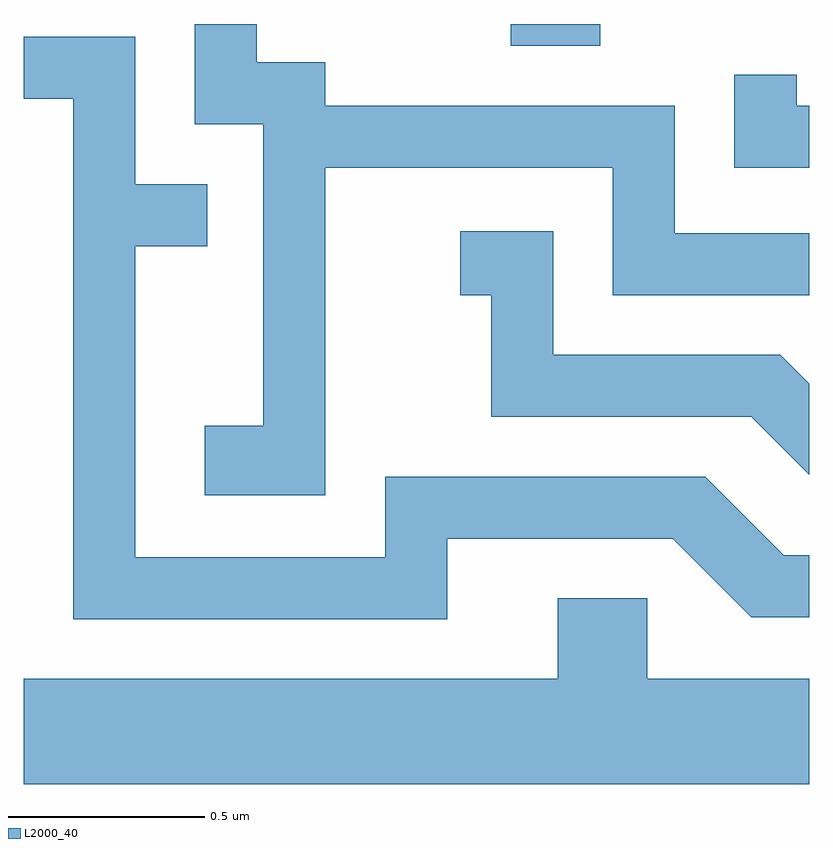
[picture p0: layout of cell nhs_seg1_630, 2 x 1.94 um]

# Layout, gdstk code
import gdstk
lib = gdstk.Library(unit=1e-6, precision=1e-09)
def R(c, l, rs):  # rectangles x0, y0, x1, y1
    for r in rs: c.add(gdstk.rectangle(r[:2], r[2:], *l))
def P(c, l, *ps):  # polygons
    for p in ps: c.add(gdstk.Polygon(p, *l))
L2000_40 = (2000, 40)

nhs_seg1_630 = lib.new_cell('nhs_seg1_630')
R(nhs_seg1_630, L2000_40, [(190.851,923.656,191.079,923.712)])
P(nhs_seg1_630, L2000_40, [(190.379,923.346),(191.111,923.346),(191.111,923.021),(191.611,923.021),(191.611,923.179),(191.269,923.179),(191.269,923.504),(190.379,923.504),(190.379,923.614),(190.204,923.614),(190.204,923.712),(190.046,923.712),(190.046,923.456),(190.221,923.456),(190.221,922.689),(190.071,922.689),(190.071,922.511),(190.379,922.511)],
  [(190.689,922.401),(191.264,922.401),(191.464,922.201),(191.611,922.201),(191.611,922.359),(191.547,922.359),(191.347,922.559),(190.531,922.559),(190.531,922.354),(189.894,922.354),(189.894,923.146),(190.078,923.146),(190.078,923.304),(189.894,923.304),(189.894,923.679),(189.611,923.679),(189.611,923.521),(189.736,923.521),(189.736,922.196),(190.689,922.196)],
  [(191.611,923.504),(191.579,923.504),(191.579,923.583),(191.421,923.583),(191.421,923.346),(191.611,923.346)],
  [(191.611,922.795),(191.537,922.869),(190.959,922.869),(190.959,923.184),(190.723,923.184),(190.723,923.021),(190.801,923.021),(190.801,922.711),(191.464,922.711),(191.611,922.564)],
  [(191.611,922.044),(191.199,922.044),(191.199,922.249),(190.971,922.249),(190.971,922.044),(189.611,922.044),(189.611,921.776),(191.611,921.776)])

lib.write_gds('nhs_seg1_630.gds')
